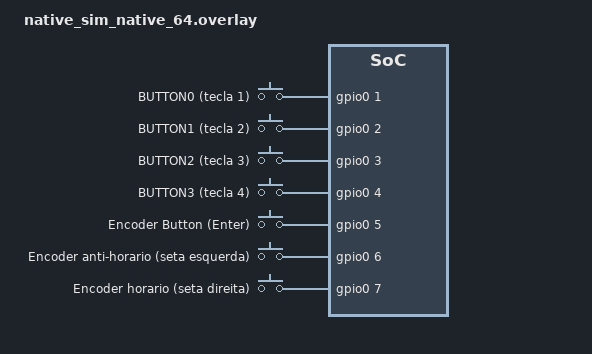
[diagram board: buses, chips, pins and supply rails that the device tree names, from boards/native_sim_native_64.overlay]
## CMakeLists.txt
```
# Aplicação Vitrolinha.
#
# Compilar:  scripts/build.sh
#     ou:    west build -b zbook@p2/rp2350b/m33

cmake_minimum_required(VERSION 3.20.0)

# ----------------------------------------------------------------------------
# Alvos de compilação suportados.
#
# Dois, de propósito:
#
#   zbook@p2/rp2350b/m33   a placa
#   native_sim             o simulador, com OLED em janela SDL e botões no
#                          teclado, para as trilhas de interface e de
#                          armazenamento não ficarem na fila do hardware
#
# A ZBook exige o sufixo @p2, e essa é a armadilha central do projeto: o
# board.yml declara `default: p2`, mas o campo é ignorado em placas de formato
# `custom` e o revision.cmake recai em `p1`. Um binário para P1 sai sem
# encoder, sem display e com conflitos de pino — e, num projeto sem overlay
# próprio, sairia sem erro nenhum.
#
# A verificação é feita duas vezes:
#
#  - Aqui, antes do find_package, sobre a string do alvo. É o único ponto em
#    que ainda dá para emitir mensagem útil: o overlay da placa referencia nós
#    que só existem no P2, e um alvo errado morreria lá dentro com erro de dtc
#    sobre rótulo inexistente.
#  - Abaixo, depois do find_package, sobre BOARD_REVISION já interpretada.
#
# Em src/board_zbook.h há ainda uma terceira, por BUILD_ASSERT.
# ----------------------------------------------------------------------------
set(vitrolinha_board_hint "${BOARD}")
if(NOT vitrolinha_board_hint)
  set(vitrolinha_board_hint "$ENV{BOARD}")
endif()

if(vitrolinha_board_hint
   AND NOT "${vitrolinha_board_hint}" MATCHES "^zbook@p2(/|$)"
   AND NOT "${vitrolinha_board_hint}" STREQUAL "native_sim/native/64")
  message(FATAL_ERROR
    "Alvo inválido: '${vitrolinha_board_hint}'.\n"
    "O Vitrolinha compila para dois alvos, e só para estes dois:\n"
    "    west build -b zbook@p2/rp2350b/m33   (a placa)\n"
    "    west build -b native_sim/native/64   (o simulador)\n"
    "\n"
    "Na ZBook, o sufixo @p2 é obrigatório: sem ele o encoder, o display e o "
    "card-detect não existem no devicetree, e o board.yml da placa não supre "
    "o padrão.\n"
    "\n"
    "No simulador, a variante /native/64 também é obrigatória, por dois "
    "motivos: o nome dos arquivos em boards/ tem de casar com a string de "
    "build, e o native_sim de 32 bits exigiria a SDL em i386.")
endif()

find_package(Zephyr REQUIRED HINTS $ENV{ZEPHYR_BASE})

# A versão não fica aqui: o Zephyr a lê do arquivo VERSION na raiz e gera
# <app_version.h>, que é como o firmware a imprime no console. Declará-la
# também em project() criaria duas fontes para o mesmo número.
project(vitrolinha
        DESCRIPTION "Tocador de músicas embarcado sobre Zephyr RTOS"
        LANGUAGES C)

if("${BOARD}" STREQUAL "zbook" AND NOT "${BOARD_REVISION}" STREQUAL "p2")
  message(FATAL_ERROR
    "Revisão de placa inválida: BOARD_REVISION='${BOARD_REVISION}'.\n"
    "Compile com: west build -b zbook@p2/rp2350b/m33")
endif()

# Módulos do projeto. A lista de fontes e o diretório de cabeçalhos moram em
# src/CMakeLists.txt, de onde os testes unitários também os consomem.
add_subdirectory(src)

# O ponto de entrada fica de fora daquela lista: os testes trazem os módulos
# sem trazer um segundo main().
target_sources(app PRIVATE src/main.c)
```

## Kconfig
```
# Kconfig da aplicação: as opções do projeto e, depois delas, as do Zephyr.

rsource "Kconfig.vitrolinha"

source "Kconfig.zephyr"
```

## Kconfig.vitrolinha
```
# Opções próprias do Vitrolinha.
#
# Separadas do Kconfig da raiz para que os testes possam incluí-las sem
# incluir uma segunda vez o Kconfig.zephyr: o teste que precisa de uma opção
# daqui tem um Kconfig de duas linhas que faz `rsource` deste arquivo.

menu "Vitrolinha"

choice VITROLINHA_STORAGE
	prompt "Origem da biblioteca"
	default VITROLINHA_STORAGE_FAKE if BOARD_NATIVE_SIM
	default VITROLINHA_STORAGE_CARD
	help
	  Quem responde ao contrato de include/vitrolinha/storage.h.

	  Na placa é o cartão. No simulador é a implementação de mentira: lá
	  não há disco registrado, o cartão é sempre "ausente", e sem as faixas
	  embutidas as trilhas de áudio e de interface ficariam sem biblioteca
	  para tocar e desenhar.

config VITROLINHA_STORAGE_CARD
	bool "Cartao microSD"
	depends on FAT_FILESYSTEM_ELM
	help
	  Varre a raiz do volume montado pelo módulo card e lê o nome de cada
	  faixa do cabeçalho RTTTL. Ver src/storage.c.

config VITROLINHA_STORAGE_FAKE
	bool "Faixas embutidas no binario (implementacao de mentira)"
	help
	  Duas faixas RTTTL embutidas, sem cartão e sem sistema de arquivos.
	  Ver src/storage_fake.c.

endchoice

endmenu
```

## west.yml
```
# Manifesto west do Vitrolinha (topologia T2: este repositório é o manifesto).
#
# Layout resultante do workspace:
#
#   vitrolinha-ws/          <- topdir do west
#   ├── .west/
#   ├── vitrolinha/         <- este repositório
#   ├── zephyr/
#   └── modules/
#
# Montagem numa máquina limpa: ver README.md.

manifest:
  self:
    path: vitrolinha

  remotes:
    - name: upstream
      url-base: https://github.com/zephyrproject-rtos
    - name: zephyr-book
      url-base: https://github.com/zephyr-book

  projects:
    # Revisão fixada numa tag, não em `main`: o mesmo commit deste repositório
    # tem de reproduzir o mesmo binário daqui a seis meses.
    - name: zephyr
      remote: upstream
      revision: v4.4.2
      import:
        # Sem a lista, o `west update` baixa ~90 módulos (vários GB). Aqui
        # ficam só os que este alvo realmente usa.
        name-allowlist:
          # HAL do RP2350B. `CONFIG_PWM_RPI_PICO` faz `select PICOSDK_USE_PWM`,
          # que vem daqui.
          - hal_rpi_pico
          # CMSIS 6 é o que `modules/cmsis_6/CMakeLists.txt` compila para
          # `CONFIG_CPU_CORTEX_M`; o módulo `cmsis` (5) só atende Cortex-A/R.
          - cmsis_6
          # Biblioteca C padrão do Zephyr 4.x.
          - picolibc
          # Interface gráfica no OLED.
          - lvgl
          # Obrigatório mesmo sem cartão: o defconfig da placa liga
          # CONFIG_FAT_FILESYSTEM_ELM incondicionalmente.
          - fatfs
          # Referenciado pelo nó `zephyr,fstab` da placa.
          - littlefs

    # Placa fora da árvore. O `zephyr/module.yml` dela define board_root e
    # snippet_root, então o alvo zbook@p2/rp2350b/m33 é descoberto sozinho —
    # não é preciso passar BOARD_ROOT.
    - name: zbook
      remote: zephyr-book
      revision: main
      path: modules/boards/zbook
```

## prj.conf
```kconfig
# Configuração comum aos dois alvos de compilação.
#
# O que é específico de cada um mora em boards/: a ZBook P2 em
# boards/zbook_rp2350b_m33_p2.conf, o simulador em boards/native_sim.conf.
# Aqui fica o que vale para os dois — a interface gráfica, a temporização e
# o diagnóstico, que são justamente as partes que se quer poder exercitar
# sem a placa.
#
# Uma opção deste arquivo quebra o projeto EM SILÊNCIO se omitida; está
# marcada com "SILENCIOSO" no comentário.

# ----------------------------------------------------------------------------
# Entrada e saída comuns
# ----------------------------------------------------------------------------
CONFIG_INPUT=y
CONFIG_INPUT_GPIO_KEYS=y

CONFIG_DISPLAY=y

# ----------------------------------------------------------------------------
# Cartão e sistema de arquivos
# ----------------------------------------------------------------------------

# A pilha de disco vem do defconfig da ZBook, mas não do simulador. Declarada
# aqui porque o módulo `card` monta o mesmo volume "SD" nos dois alvos, com o
# mesmo código — o que difere é de onde o disco aparece, e isso está em
# boards/.
CONFIG_DISK_ACCESS=y
CONFIG_FILE_SYSTEM=y
CONFIG_FAT_FILESYSTEM_ELM=y

# SILENCIOSO E DESTRUTIVO: o padrão do Zephyr é `y`. Com ele ligado, um cartão
# que não monta é FORMATADO pelo próprio `fs_mount` — "Note: This option is
# destructive to data and will automatically destroy your disk, if mount
# attempt fails", diz o texto de ajuda da própria opção. Um cartão com a
# partição levemente danificada entraria na placa com a biblioteca do usuário
# e sairia vazio, sem erro nenhum.
#
# A aplicação nunca formata cartão: a biblioteca é do usuário. O módulo `card`
# ainda passa FS_MOUNT_FLAG_NO_FORMAT na montagem, para que religar esta opção
# por engano não rearme a bomba.
CONFIG_FS_FATFS_MOUNT_MKFS=n

# O padrão de 4 é pré-alocado estaticamente. Só o `storage` toca no sistema
# de arquivos, e nunca em mais de um arquivo por vez.
CONFIG_FS_FATFS_NUM_FILES=2
CONFIG_FS_FATFS_NUM_DIRS=2

# CONFIG_FS_FATFS_LFN fica desligado de propósito: o nome exibido vem do
# cabeçalho RTTTL, não do nome de arquivo, então nomes longos custariam RAM
# estática sem contrapartida. Isso também dispensa decidir entre LFN_MODE_BSS
# e reentrância — e sem reentrância o FF_FS_TIMEOUT do FatFs deixa de ser
# K_FOREVER.

# ----------------------------------------------------------------------------
# Temporização
# ----------------------------------------------------------------------------

# 50 us de quantização, de graça sob tickless. Não subir para 100 kHz: nesse
# ponto o ciclo por tick iguala o atraso mínimo do SysTick e o driver pode
# expirar em dobro.
CONFIG_SYS_CLOCK_TICKS_PER_SEC=20000

# ----------------------------------------------------------------------------
# Interface gráfica
# ----------------------------------------------------------------------------
CONFIG_LVGL=y
CONFIG_LV_COLOR_DEPTH_1=y

# SILENCIOSO: sem o buffer de conversão, o caminho monocromático não é
# registrado e a inicialização do display devolve -ENOTSUP.
CONFIG_LV_Z_MONOCHROME_CONVERSION_BUFFER=y

CONFIG_LV_Z_COLOR_MONO_HW_INVERSION=y

# Quadro inteiro: 128x64 a 1 bpp são 1024 B, ~2 KB com o buffer de conversão.
# Renderização parcial seria economia sem propósito nesse tamanho.
CONFIG_LV_Z_VDB_SIZE=100

# O padrão de 2048 B não sustenta uma lista de 32 itens: no LVGL 9 cada item
# é um botão mais um rótulo, ~150-200 B de heap cada. Dimensionar por medição
# com `lvgl stats memory`, não por estimativa.
CONFIG_LV_Z_MEM_POOL_SIZE=24576

# O laço do LVGL roda numa fila de trabalho dedicada, em vez de num laço que
# a aplicação escreveria. Precisa estar ligado explicitamente: o padrão é n, e
# a prioridade abaixo só existe dentro deste `if`.
CONFIG_LV_Z_RUN_LVGL_ON_WORKQUEUE=y

# SILENCIOSO: o padrão é 0, a maior prioridade preemptível. Deixado assim, o
# laço do LVGL sobrepuja qualquer thread do player — o inverso exato da
# arquitetura pretendida, sem erro nenhum. É a configuração que, omitida,
# invalida a tese do trabalho.
CONFIG_LV_Z_LVGL_WORKQUEUE_PRIORITY=10

# Grade exata de 16 colunas por 8 linhas na tela de 128x64.
CONFIG_LV_FONT_UNSCII_8=y
CONFIG_LV_FONT_DEFAULT_UNSCII_8=y

# `lvgl stats memory`, para dimensionar o pool acima por medição. Depende de
# CONFIG_SHELL, que não vem do defconfig da placa.
CONFIG_SHELL=y
CONFIG_LV_Z_SHELL=y

# ----------------------------------------------------------------------------
# Diagnóstico e robustez
# ----------------------------------------------------------------------------

# Vem do defconfig da ZBook, mas não do simulador: sem declarar aqui, todo
# LOG_* compila para nada no alvo simulado e o firmware fica mudo sem
# nenhum aviso.
CONFIG_LOG=y

# Log diferido: em modo imediato a formatação acontece na thread que chamou
# LOG_*, o que poria trabalho de E/S serial dentro de caminhos que precisam
# ser curtos. Diferido é o padrão do Zephyr, declarado aqui porque o projeto
# depende disso e não de um padrão.
CONFIG_LOG_MODE_DEFERRED=y

# Nomes nas threads, senão o relatório do analisador vira uma lista de
# endereços.
CONFIG_THREAD_NAME=y

# Violação de pré-condição de API do kernel para de passar batida. Custa
# tamanho de código; sai quando o firmware for para demonstração final.
CONFIG_ASSERT=y
```

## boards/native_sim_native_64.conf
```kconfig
# Configuração específica do alvo de simulação.
#
# Reproduz o OLED e as entradas da ZBook no desktop, para que as trilhas de
# interface e de armazenamento não fiquem na fila da placa física. O comum
# aos dois alvos está em prj.conf.
#
# O que NÃO é reproduzido aqui: o áudio. Não existe PWM emulado no Zephyr, e
# ouvir a melodia continua exigindo hardware.

# ----------------------------------------------------------------------------
# A tela
# ----------------------------------------------------------------------------

# Mono de 1 bit, com o zero representando preto — a mesma convenção do
# SSD1306, em que o bit ligado acende o pixel. Com isso o LVGL usa o mesmo
# caminho de código monocromático dos dois lados, incluindo o buffer de
# conversão e o arredondamento de área para múltiplos de 8 em Y.
CONFIG_SDL_DISPLAY_DEFAULT_PIXEL_FORMAT_MONO01=y

# 128x64 numa tela de desktop é um selo. Quadruplicar mantém a proporção e
# a grade de pixels visível, que é o que se quer conferir numa interface
# desenhada para 1 bpp.
CONFIG_SDL_DISPLAY_ZOOM_PCT=400

# ----------------------------------------------------------------------------
# As entradas
# ----------------------------------------------------------------------------

# Teclado do host acionando os pinos de GPIO emulados declarados em
# boards/native_sim.overlay. Os drivers que ficam acima — gpio-keys e o
# subsistema input — são os mesmos da placa.
CONFIG_GPIO_EMUL_SDL=y

# ----------------------------------------------------------------------------
# O cartão
# ----------------------------------------------------------------------------

# Não há cartão aqui, e é de propósito: o módulo `card` roda igual nos dois
# alvos e conclui "ausente" quando nenhum disco de nome "SD" está registrado.
# O que precisa ser dito ao FatFs é só o nome do volume.
#
# O FatFs do Zephyr monta a lista de volumes a partir do DEVICETREE — o
# FF_VOLUME_STRS sai da varredura dos nós `zephyr,sdmmc-disk` e afins, em
# zephyr/modules/fatfs/zephyr_fatfs_config.h. No simulador não existe nó
# nenhum desses, e sem a lista o FF_VOLUMES ficaria sem valor válido e o
# módulo não compilaria. Estas duas opções são a saída oficial: a lista vem
# por Kconfig.
#
# O nome é o mesmo `disk-name` do nó `sdhc0` da ZBook, para que o ponto de
# montagem seja idêntico nos dois alvos — é o CARD_DISK_NAME do módulo `card`,
# de onde sai o CARD_MOUNT_POINT.
#
# Inserção e remoção de verdade são exercitadas em tests/card/, com um disco
# controlado pelo próprio teste.
CONFIG_FS_FATFS_CUSTOM_MOUNT_POINT_COUNT=1
CONFIG_FS_FATFS_CUSTOM_MOUNT_POINTS="SD"

# ----------------------------------------------------------------------------
# Console
# ----------------------------------------------------------------------------

# Sem isto o console vai para um pseudo-terminal e é preciso abrir um segundo
# terminal para vê-lo. Assim o relatório de bring-up e o shell saem no mesmo
# terminal que lançou o executável, ao lado da janela da tela.
CONFIG_UART_NATIVE_PTY_0_ON_STDINOUT=y
```

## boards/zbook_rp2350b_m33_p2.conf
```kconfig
# Configuração específica da ZBook P2.
#
# O defconfig da placa já traz GPIO, I2C, SPI, ADC, SERIAL, PINCTRL,
# CLOCK_CONTROL, LOG, FPU, LED_STRIP, SDHC, DISK_ACCESS, DISK_DRIVERS,
# FILE_SYSTEM e FAT_FILESYSTEM_ELM. Aqui fica o que falta e o que só existe
# nesta placa. O comum aos dois alvos está em prj.conf.

# ----------------------------------------------------------------------------
# Periféricos da placa
# ----------------------------------------------------------------------------
CONFIG_PWM=y
CONFIG_PWM_RPI_PICO=y

# Decodificador de quadratura do encoder PEC12R. No simulador não existe: as
# setas do teclado viram INPUT_REL_WHEEL em src/sim_encoder.c.
CONFIG_INPUT_GPIO_QDEC=y

# O painel é um SSD1306, não um SH1106. Descrito como SH1106 ele confirma no
# I²C e aceita tudo, mas a bomba de carga não liga e a tela fica preta.
CONFIG_SSD1306=y

# ----------------------------------------------------------------------------
# Cartão
# ----------------------------------------------------------------------------
#
# O sistema de arquivos em si é comum aos dois alvos e está em prj.conf. Aqui
# fica só o que existe quando há um cartão SD de verdade do outro lado.

# Os padrões são 10000 ms vezes 3 tentativas, o que faria um único fs_read
# bloquear por dezenas de segundos com o cartão removido. É este corte que
# limita também a espera do `fs_unmount` na remoção a quente: o
# `sdmmc_wait_ready` do caminho de desmontagem tem por teto justamente o
# SD_DATA_TIMEOUT.
CONFIG_SD_DATA_TIMEOUT=500
CONFIG_SD_DATA_RETRIES=1

# CONFIG_SD_INIT_TIMEOUT fica no padrão de 1500 ms, e não cortado como os de
# cima. É o prazo que a especificação física do SD dá ao cartão para concluir
# a inicialização (1 s para o ACMD41, mais folga); encurtá-lo trocaria uma
# espera rara por rejeitar cartões legítimos. O preço é que uma tentativa de
# montagem pode custar 1,5 s — e é por isso que ela mora numa thread de
# prioridade 12, e não na fila de trabalho do sistema.

# ----------------------------------------------------------------------------
# Robustez
# ----------------------------------------------------------------------------

# MPU do Cortex-M33 guardando o fim de cada pilha: estouro vira exceção com
# a thread culpada identificada, em vez de corrupção silenciosa de memória
# vizinha.
CONFIG_HW_STACK_PROTECTION=y

# ----------------------------------------------------------------------------
# Diagnóstico que depende da arquitetura
# ----------------------------------------------------------------------------

# Consumo de pilha por thread: critério de avaliação do trabalho (issue #13).
CONFIG_THREAD_ANALYZER=y
CONFIG_THREAD_ANALYZER_AUTO=y
CONFIG_THREAD_ANALYZER_AUTO_THREAD_PRIORITY_OVERRIDE=y
CONFIG_THREAD_ANALYZER_AUTO_THREAD_PRIORITY=10
```

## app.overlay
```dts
/*
 * Sobreposição comum aos dois alvos de compilação.
 *
 * O que é específico de cada um mora em boards/: a ZBook P2 em
 * boards/zbook_rp2350b_m33_p2.overlay, o simulador em
 * boards/native_sim.overlay. Aqui fica só o que vale para os dois — hoje, a
 * ponte entre o subsistema `input` e o dispositivo de entrada do LVGL, que é
 * idêntica nos dois porque ambos entregam os mesmos códigos de evento.
 *
 * SPDX-License-Identifier: Apache-2.0
 */

#include <zephyr/dt-bindings/input/input-event-codes.h>

/ {
	/*
	 * Ponte declarativa entre o subsistema `input` do Zephyr e o
	 * dispositivo de entrada do LVGL.
	 *
	 * Sem a propriedade `input`, o nó assina todos os dispositivos de
	 * entrada e guarda apenas os dois códigos declarados aqui, ignorando
	 * os quatro botões de transporte. É exatamente a divisão desejada:
	 * encoder para o grupo de foco do LVGL, botões para a fila de
	 * comandos própria.
	 *
	 * Atenção: isto cria o indev, não o grupo de foco. Criar o grupo e
	 * amarrá-lo ao indev é da aplicação (issue #25) — sem isso o encoder
	 * gera eventos, o LVGL os recebe, e nada se move na tela.
	 */
	lvgl_encoder_input: lvgl_encoder_input {
		compatible = "zephyr,lvgl-encoder-input";
		rotation-input-code = <INPUT_REL_WHEEL>;
		button-input-code = <INPUT_KEY_ENTER>;
	};
};
```

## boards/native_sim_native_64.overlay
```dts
/*
 * Sobreposição de devicetree do alvo de simulação.
 *
 * Reproduz a ZBook no desktop com os periféricos emulados do Zephyr, para que
 * as trilhas de interface e de armazenamento não fiquem na fila da placa
 * física. O que não é reproduzível aqui é o áudio: não existe PWM emulado no
 * Zephyr, e o buzzer continua exigindo hardware.
 *
 * SPDX-License-Identifier: Apache-2.0
 */

#include <zephyr/dt-bindings/input/input-event-codes.h>
#include <zephyr/dt-bindings/lvgl/lvgl.h>

/*
 * A tela, no tamanho real do OLED.
 *
 * O driver SDL é configurado em mono 1 bpp com tiling vertical (ver
 * boards/native_sim.conf), que é o mesmo formato que o SSD1306 reporta. O
 * LVGL passa pelo mesmo caminho de código nos dois alvos — inclusive pelo
 * arredondamento de área para múltiplos de 8 em Y.
 */
&sdl_dc {
	width = <128>;
	height = <64>;
};

/*
 * Teclado do host acionando pinos de GPIO emulados.
 *
 * O nó tem de ser filho do controlador `zephyr,gpio-emul` — o driver
 * verifica isso com BUILD_ASSERT, então declará-lo na raiz não compila.
 *
 * O índice do vetor é o número do pino, e o valor é o scancode HID da tecla.
 * O pino 0 fica com o scancode 0 ("no event") porque já é o led0 do
 * native_sim, que o sinal de vida usa.
 *
 * Limitação do driver: só ativo-alto, porque não há evento para tecla solta.
 * Por isso os botões aqui são GPIO_ACTIVE_HIGH, ao contrário dos da placa. A
 * diferença morre no devicetree — o `input_gpio_keys` normaliza, e quem
 * consome os eventos não distingue.
 */
&gpio0 {
	gpio_emul_sdl: gpio_emul_sdl {
		compatible = "zephyr,gpio-emul-sdl";
		scancodes = <0>,   /* pino 0 — led0, sinal de vida */
			    <30>,  /* pino 1 — tecla 1 */
			    <31>,  /* pino 2 — tecla 2 */
			    <32>,  /* pino 3 — tecla 3 */
			    <33>,  /* pino 4 — tecla 4 */
			    <40>,  /* pino 5 — Enter */
			    <80>,  /* pino 6 — seta esquerda */
			    <79>;  /* pino 7 — seta direita */
	};
};

/ {
	/*
	 * Botões de transporte.
	 *
	 * A ordem aqui é a lógica, BTN_0 a BTN_3. Qual botão físico da placa
	 * corresponde a qual continua sendo pergunta da bancada (issue #27):
	 * o P2 não tem serigrafia e a ordem física não segue a numérica.
	 */
	buttons {
		compatible = "gpio-keys";
		debounce-interval-ms = <20>;

		sim_button0: button0 {
			zephyr,code = <INPUT_BTN_0>;
			gpios = <&gpio0 1 GPIO_ACTIVE_HIGH>;
			label = "BUTTON0 (tecla 1)";
		};

		sim_button1: button1 {
			zephyr,code = <INPUT_BTN_1>;
			gpios = <&gpio0 2 GPIO_ACTIVE_HIGH>;
			label = "BUTTON1 (tecla 2)";
		};

		sim_button2: button2 {
			zephyr,code = <INPUT_BTN_2>;
			gpios = <&gpio0 3 GPIO_ACTIVE_HIGH>;
			label = "BUTTON2 (tecla 3)";
		};

		sim_button3: button3 {
			zephyr,code = <INPUT_BTN_3>;
			gpios = <&gpio0 4 GPIO_ACTIVE_HIGH>;
			label = "BUTTON3 (tecla 4)";
		};
	};

	/*
	 * Clique e rotação do encoder.
	 *
	 * O clique é direto: mesmo código da placa, mesmo driver. Já a
	 * rotação não pode passar pelo `gpio-qdec`, que espera quadratura A/B
	 * limpa — duas teclas não produzem isso. As setas viram teclas comuns
	 * aqui, e src/sim_encoder.c as converte em INPUT_REL_WHEEL, que é o
	 * que o indev do LVGL de fato consome.
	 */
	encoder: encoder {
		compatible = "gpio-keys";
		debounce-interval-ms = <20>;

		sim_enc_button: enc-button {
			zephyr,code = <INPUT_KEY_ENTER>;
			gpios = <&gpio0 5 GPIO_ACTIVE_HIGH>;
			label = "Encoder Button (Enter)";
		};

		sim_enc_ccw: enc-ccw {
			zephyr,code = <INPUT_KEY_LEFT>;
			gpios = <&gpio0 6 GPIO_ACTIVE_HIGH>;
			label = "Encoder anti-horario (seta esquerda)";
		};

		sim_enc_cw: enc-cw {
			zephyr,code = <INPUT_KEY_RIGHT>;
			gpios = <&gpio0 7 GPIO_ACTIVE_HIGH>;
			label = "Encoder horario (seta direita)";
		};
	};
    lvgl_keypad: lvgl_keypad {
        compatible = "zephyr,lvgl-keypad-input";

        input = <&encoder>;

        input-codes = <
            INPUT_KEY_LEFT
            INPUT_KEY_RIGHT
            INPUT_KEY_ENTER
        >;

        lvgl-codes = <
            LV_KEY_LEFT
            LV_KEY_RIGHT
            LV_KEY_ENTER
        >;
    };
};
```

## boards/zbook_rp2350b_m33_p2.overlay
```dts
/*
 * Sobreposição de devicetree da ZBook P2.
 *
 * Um arquivo em boards/ só é aplicado se o nome casar exatamente com a string
 * de build montada a partir de placa, qualificadores e revisão — e errar o
 * nome não gera erro, a sobreposição apenas não é aplicada. Aqui isso não é
 * risco silencioso: os BUILD_ASSERT em src/board_zbook.h conferem, em tempo
 * de compilação, que este arquivo foi mesmo aplicado.
 *
 * O que é comum aos dois alvos de compilação está em app.overlay.
 *
 * SPDX-License-Identifier: Apache-2.0
 */

#include <zephyr/dt-bindings/i2c/i2c.h>
#include <zephyr/dt-bindings/input/input-event-codes.h>

/*
 * Divisor automático no slice do buzzer.
 *
 * A placa fixa `divider-int-8 = <255>`, o que põe o driver em modo fixo: ele
 * não reescala o divisor por nota e, nesse caminho, não valida o limite de
 * 16 bits do registrador de wrap. Apagar a propriedade devolve o driver ao
 * modo automático, em que ele escolhe o divisor por potência de dois a cada
 * nota mantendo o contador acima de 32768.
 *
 * Ganho de afinação: com o divisor fixo o erro chega a ~6 cents na oitava 7 —
 * justamente onde a transposição para cima leva a melodia; em modo automático
 * fica em ~0,05 cent.
 *
 * A regra de derivar o período de pwm_get_cycles_per_sec() continua valendo
 * nos dois modos, e é ela que evita a armadilha de verdade.
 */
&pwm {
	/delete-property/ divider-int-8;
};

/*
 * I²C a 400 kHz.
 *
 * A placa deixa em 100 kHz, onde um quadro cheio de 128x64 a 1 bpp (1024 B)
 * custa ~92 ms no barramento — os 10 fps do plano não caberiam. A 400 kHz
 * cai para ~23 ms. O que sustenta a taxa mesmo é o desenho por região suja;
 * isto só tira o barramento do caminho crítico da troca de tela.
 */
&i2c0 {
	clock-frequency = <I2C_BITRATE_FAST>;
};

/*
 * Detecção de cartão ligada à pilha SD.
 *
 * O nó `sd_cd` existe na placa, mas nenhum driver o consome por padrão. Sem
 * `cd-gpios`, `sdhc_spi_get_card_present` devolve 1 incondicionalmente —
 * "SPI has no card presence method, assume card is in slot" — e o firmware
 * nunca descobre que não há cartão.
 *
 * GPIO 33 = gpio0_hi pino 1, ativo-baixo, com pull-up externo de 10k.
 */
&sdhc0 {
	cd-gpios = <&gpio0_hi 1 GPIO_ACTIVE_LOW>;
};

/*
 * Debounce explícito nos botões.
 *
 * A propriedade é do nó `gpio-keys` pai, não de cada filho, e o padrão
 * herdado do binding é 30 ms. Declarar 20 ms deixa o número no repositório
 * em vez de num arquivo de terceiros.
 *
 * O nó dos quatro botões de transporte está na raiz; o do clique do encoder
 * é filho de gpio0_hi e não tem rótulo, daí o caminho completo. Caminho que
 * não existir vira erro de compilação do devicetree, não omissão silenciosa.
 */
&{/buttons} {
	debounce-interval-ms = <20>;
};

&{/soc/gpio@40028000/gpio-port@1/encoder} {
	debounce-interval-ms = <20>;
};
```

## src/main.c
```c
/**
 * @file main.c
 * @brief Ponto de entrada do Vitrolinha.
 *
 * **Andaime, não produto.** Este `main` existe para provar que o ambiente
 * está de pé: pisca um LED e imprime no console um relatório de bring-up
 * que exercita os quatro contratos compartilhados. Se o relatório sai
 * completo, as três trilhas podem trabalhar em paralelo sem esperar umas
 * pelas outras.
 *
 * É descartado inteiro quando as threads `player`, `ui`, `input` e `loader`
 * existirem — nenhuma linha daqui foi escrita para durar.
 *
 * Compila para os dois alvos: a ZBook P2 e o simulador. O que difere entre
 * eles é devicetree e configuração, não código — é o que torna possível
 * desenvolver a interface e o armazenamento sem a placa em mãos.
 */

#include <vitrolinha/card.h>
#include <vitrolinha/cmd.h>
#include <vitrolinha/snapshot.h>
#include <vitrolinha/storage.h>
#include <vitrolinha/track.h>

#include <app_version.h>

#include <zephyr/devicetree.h>
#include <zephyr/drivers/gpio.h>
#include <zephyr/kernel.h>
#include <zephyr/logging/log.h>

LOG_MODULE_REGISTER(vitrolinha, LOG_LEVEL_INF);

/*
 * Verificações de compilação da placa física. No alvo de simulação não há
 * encoder, display SSD1306 nem cartão para conferir — os periféricos
 * emulados são outros, e o overlay que os descreve é outro.
 */
#if defined(CONFIG_BOARD_ZBOOK)
#include "board_zbook.h"
#endif

/** @brief Período de meio piscar do LED de sinal de vida. */
#define HEARTBEAT_PERIOD K_MSEC(500)

/**
 * @brief LED de sinal de vida.
 *
 * Um dos quatro LEDs de GPIO puro. Um deles vai virar o pino de
 * instrumentação das medições de tempo (issue #23), já que a placa não tem
 * pino de header confirmado — daí valer a pena que o sinal de vida seja um
 * ponto único no código, fácil de mover.
 */
static const struct gpio_dt_spec heartbeat = GPIO_DT_SPEC_GET(DT_ALIAS(led0), gpios);

/**
 * @brief Prepara o LED de sinal de vida.
 *
 * @retval 0        LED pronto.
 * @retval -ENODEV  O controlador de GPIO não inicializou.
 * @retval outro    Erro devolvido por `gpio_pin_configure_dt`.
 */
static int heartbeat_init(void)
{
	int err;

	if (!gpio_is_ready_dt(&heartbeat)) {
		LOG_ERR("GPIO do LED de sinal de vida nao esta pronto");
		return -ENODEV;
	}

	err = gpio_pin_configure_dt(&heartbeat, GPIO_OUTPUT_INACTIVE);
	if (err != 0) {
		LOG_ERR("Nao consegui configurar o LED: %d", err);
		return err;
	}

	return 0;
}

/**
 * @brief Anuncia toda mudança de estado do cartão.
 *
 * Aqui só imprime. Quando a interface existir, é por este caminho que a tela
 * de erro aparece e some (issues #29 e #30).
 *
 * @param state O estado novo.
 */
static void card_changed(enum card_state state)
{
	LOG_INF("Cartao mudou para: %s", card_state_name(state));
}

/**
 * @brief Monta o cartão e põe o monitor de presença de pé.
 *
 * Ausência de cartão não é falha de inicialização: a placa continua ligando,
 * e o monitor passa a avisar se um cartão aparecer.
 */
static void card_report(void)
{
	int err;

	/* Observar antes de inicializar, para não perder a transição de quem
	 * liga a placa com o cartão já no soquete.
	 */
	card_observe(card_changed);

	err = card_init();
	if (err != 0) {
		LOG_ERR("Monitor do cartao nao subiu: %d", err);
		return;
	}

	LOG_INF("Cartao: %s (ponto de montagem %s)", card_state_name(card_get_state()),
		CARD_MOUNT_POINT);
}

/**
 * @brief Exercita o contrato do @ref storage.h e lista a biblioteca no log.
 *
 * Quem responde depende do alvo: na placa, o cartão que o @ref card_report
 * acabou de montar; no simulador, a implementação de mentira, com duas faixas
 * embutidas. Esta função não sabe qual das duas — é o que a fronteira do
 * @ref storage.h compra.
 *
 * @return Quantidade de faixas encontradas, ou erro negativo do contrato.
 */
static int library_report(void)
{
	static struct track_meta library[LIBRARY_MAX];
	static uint8_t buf[STORAGE_FILE_MAX];
	size_t skipped;
	int count;

	LOG_INF("Biblioteca: %s", storage_present() ? "disponivel" : "indisponivel");

	count = storage_scan(library, ARRAY_SIZE(library), &skipped);
	if (count < 0) {
		LOG_ERR("Varredura falhou: %d", count);
		return count;
	}

	LOG_INF("Biblioteca: %d faixa(s)", count);

	/* É este aviso que vira mensagem na tela quando a interface existir. */
	if (skipped > 0U) {
		LOG_WRN("Biblioteca cheia: %zu arquivo(s) ignorado(s)", skipped);
	}

	for (int i = 0; i < count; i++) {
		int size = storage_load(i, buf, sizeof(buf));

		if (size == -ENOTSUP) {
			/* O cartão ainda não carrega faixa: é a issue #11. */
			LOG_INF("  [%u] %-16s%s", library[i].index, library[i].name,
				library[i].valid ? "" : "  (invalida)");
			continue;
		}

		if (size < 0) {
			LOG_WRN("  [%u] %-16s  carga falhou: %d", library[i].index,
				library[i].name, size);
			continue;
		}

		LOG_INF("  [%u] %-16s  %d bytes%s", library[i].index, library[i].name,
			size, library[i].valid ? "" : "  (invalida)");
	}

	return count;
}

/**
 * @brief Exercita o contrato do @ref snapshot.h.
 *
 * Publica um instantâneo de faixa tocando e o relê pelo mesmo caminho que a
 * `ui` usará, para conferir que a conversão de decorrido e de progresso
 * está de pé antes de existir tela.
 */
static void snapshot_report(void)
{
	const struct player_snapshot playing = {
		.state = PLAYER_PLAYING,
		.base_us = 0U,
		.total_us = 60U * USEC_PER_SEC,
		.track = 0,
	};
	struct player_snapshot copy;

	snapshot_publish(&playing);
	snapshot_read(&copy);

	LOG_INF("Instantaneo: faixa %d, %u us de %u us (%u/1000)", copy.track,
		snapshot_elapsed_us(&copy, 30U * USEC_PER_SEC), copy.total_us,
		snapshot_progress_permille(&copy, 30U * USEC_PER_SEC));
}

/**
 * @brief Exercita o contrato do @ref cmd.h.
 *
 * Publica e consome um comando pela fila real, no mesmo sentido em que
 * `input` e `player` vão usá-la.
 */
static void cmd_report(void)
{
	struct cmd received;
	int err;

	cmd_flush();

	err = cmd_post(CMD_SELECT, 1);
	if (err != 0) {
		LOG_ERR("Nao consegui enfileirar comando: %d", err);
		return;
	}

	err = cmd_get(&received, K_NO_WAIT);
	if (err != 0) {
		LOG_ERR("Nao consegui retirar comando: %d", err);
		return;
	}

	LOG_INF("Comando: %s faixa %d", cmd_kind_name((enum cmd_kind)received.kind),
		received.track);
}

int main(void)
{
	int err;

	LOG_INF("Vitrolinha %s em " CONFIG_BOARD_TARGET, APP_VERSION_STRING);

	err = heartbeat_init();
	if (err != 0) {
		return err;
	}

	card_report();
	(void)library_report();
	snapshot_report();
	cmd_report();

	LOG_INF("Bring-up completo. LED de sinal de vida piscando.");

	while (true) {
		(void)gpio_pin_toggle_dt(&heartbeat);
		k_sleep(HEARTBEAT_PERIOD);
	}

	return 0;
}
```

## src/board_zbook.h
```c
/**
 * @file board_zbook.h
 * @brief Verificações de compilação específicas da ZBook P2.
 *
 * Incluído apenas quando o alvo é a placa física. Existe como cabeçalho
 * separado para que o alvo de simulação, que não tem nenhum destes nós, não
 * precise de `#if` espalhado pelo código da aplicação.
 *
 * As duas famílias de verificação aqui cobrem as duas maneiras de o build
 * sair errado sem emitir erro.
 */

#ifndef VITROLINHA_BOARD_ZBOOK_H_
#define VITROLINHA_BOARD_ZBOOK_H_

#include <zephyr/devicetree.h>
#include <zephyr/toolchain.h>

/*
 * 1. Revisão da placa.
 *
 * O board.yml da ZBook declara `default: p2`, mas o campo é ignorado em
 * placas de formato `custom`, e o revision.cmake recai em `p1`. Compilar sem
 * o sufixo @p2 produz um binário para uma placa sem encoder e sem tela.
 *
 * O CMakeLists rejeita o alvo errado antes de compilar; estes BUILD_ASSERT
 * pegam o caso de alguém chegar ao build por outro caminho, como um IDE que
 * monte a linha de comando sozinho. Os três nós só existem na revisão P2.
 */
BUILD_ASSERT(DT_NODE_EXISTS(DT_NODELABEL(encoder_qdec)),
	     "Sem encoder no devicetree: compile com -b zbook@p2/rp2350b/m33 "
	     "(o sufixo @p2 e obrigatorio).");
BUILD_ASSERT(DT_NODE_EXISTS(DT_NODELABEL(enc_button)),
	     "Sem clique de encoder no devicetree: falta o sufixo @p2.");
BUILD_ASSERT(DT_HAS_CHOSEN(zephyr_display),
	     "Sem chosen zephyr,display: falta o sufixo @p2.");

/*
 * 2. Sobreposição da aplicação.
 *
 * Um arquivo em boards/ só é aplicado se o nome casar exatamente com a
 * string de build montada a partir de placa, qualificadores e revisão, e
 * errar o nome não gera aviso nenhum. Sem estas duas verificações, o
 * firmware compilaria com o I²C a 100 kHz e com o cartão sempre "presente".
 */
BUILD_ASSERT(DT_PROP(DT_NODELABEL(i2c0), clock_frequency) == 400000,
	     "boards/zbook_rp2350b_m33_p2.overlay nao foi aplicado: "
	     "i2c0 ainda esta em 100 kHz.");
BUILD_ASSERT(DT_NODE_HAS_PROP(DT_NODELABEL(sdhc0), cd_gpios),
	     "boards/zbook_rp2350b_m33_p2.overlay nao foi aplicado: "
	     "sdhc0 esta sem cd-gpios.");

#endif /* VITROLINHA_BOARD_ZBOOK_H_ */
```

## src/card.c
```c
/**
 * @file card.c
 * @brief Montagem do cartão e o monitor que vê inserção e remoção.
 *
 * Duas coisas num arquivo só, porque são a mesma: montar é a única maneira de
 * descobrir se o cartão presta, e observar a presença só tem valor se alguém
 * montar quando ela aparecer.
 *
 * O que torna isto menos trivial do que parece é que, sem `cd-gpios` no nó
 * `sdhc0`, a pilha SD mente: `sdhc_spi_get_card_present` devolve 1
 * incondicionalmente, com o comentário "SPI has no card presence method,
 * assume card is in slot" (`zephyr/drivers/sdhc/sdhc_spi.c:780`). O overlay
 * da placa liga o pino, e é só por causa dele que qualquer coisa deste
 * arquivo funciona.
 *
 * @see card.h para o contrato, docs/adr/0007 para as alternativas rejeitadas
 */

#include <vitrolinha/card.h>

#include <zephyr/fs/fs.h>
#include <zephyr/kernel.h>
#include <zephyr/logging/log.h>
#include <zephyr/storage/disk_access.h>
#include <zephyr/sys/atomic.h>

#include <ff.h>

#include <errno.h>

LOG_MODULE_REGISTER(card, LOG_LEVEL_INF);

/**
 * @brief Intervalo entre duas olhadas no pino de detecção.
 *
 * O pino de card-detect não tem interrupção: o `sdhc_spi` o configura como
 * `GPIO_INPUT` puro e a pilha SD só o expõe por consulta. Logo, sondagem.
 *
 * 250 ms é o tempo entre encostar o cartão no soquete e a tela reagir. Mais
 * curto não melhora nada perceptível — uma inserção humana leva bem mais do
 * que isso — e mais longo faz a placa parecer travada.
 */
#define CARD_POLL_INTERVAL_MS 250

/**
 * @brief Pilha do monitor.
 *
 * Dimensionada com folga por ora: quem monta é esta thread, e montar
 * atravessa o FatFs e a pilha SD inteira. O número definitivo sai da medição
 * do `CONFIG_THREAD_ANALYZER` (issue #13), que é critério de avaliação — não
 * de estimativa.
 */
#define CARD_MONITOR_STACK_SIZE 2048

/**
 * @brief Prioridade do monitor: a mais baixa do sistema.
 *
 * Abaixo da fila de trabalho do LVGL (10), que já está abaixo do `player`.
 * O monitor é a única thread que bloqueia por mais de um milissegundo, e não
 * há nada no sistema que possa esperar por ela.
 */
#define CARD_MONITOR_PRIORITY 12

/** @brief Objeto de trabalho do FatFs para o volume do cartão. */
static FATFS card_fat;

/**
 * @brief Descrição da montagem.
 *
 * `FS_MOUNT_FLAG_NO_FORMAT` é a segunda tranca do mesmo perigo que o
 * `CONFIG_FS_FATFS_MOUNT_MKFS=n` fecha: sem ele, `fs_mount` formata um cartão
 * que não montou, apagando a biblioteca de quem só queria ouvir música. O
 * Kconfig sozinho bastaria; a tranca aqui é para que ligar a opção de volta,
 * por engano ou por outro módulo, não volte a armar a bomba.
 */
static struct fs_mount_t card_mount = {
	.type = FS_FATFS,
	.fs_data = &card_fat,
	.mnt_point = CARD_MOUNT_POINT,
	.flags = FS_MOUNT_FLAG_NO_FORMAT,
};

/**
 * @brief Estado publicado, lido sem trava por qualquer thread.
 *
 * Atômico e não `enum` simples: quem lê é a interface, a cada quadro, e quem
 * escreve é o monitor. Um `int` desalinhado não existe nesta arquitetura, mas
 * `atomic_set` também devolve o valor anterior numa operação só — que é
 * exatamente o que @ref publish precisa para decidir se houve transição.
 */
static atomic_t card_state_now = ATOMIC_INIT(CARD_ABSENT);

/** @brief O volume está montado? Escrito só sob @ref card_lock. */
static bool card_mounted;

/** @brief O monitor já existe? */
static bool card_started;

/** @brief Quem quer saber das transições. */
static card_observer_t card_observer;

/**
 * @brief Serializa as avaliações, e as avaliações com quem usa o volume.
 *
 * A aplicação pode chamar @ref card_refresh enquanto o monitor está no meio
 * de uma montagem. Sem isto, os dois chamariam `fs_mount` sobre o mesmo
 * `fs_mount_t`.
 *
 * É também a trava do empréstimo de @ref card_acquire: quem lê o volume a
 * segura, e o monitor não desmonta por baixo da leitura.
 */
static K_MUTEX_DEFINE(card_lock);

static struct k_thread card_monitor_thread;
static K_THREAD_STACK_DEFINE(card_monitor_stack, CARD_MONITOR_STACK_SIZE);

/**
 * @brief Há cartão no soquete?
 *
 * Consulta barata — na placa, uma leitura do pino de card-detect por dentro
 * da pilha SD. Não diz nada sobre o volume ser legível.
 *
 * @return Verdadeiro se o disco existe e não acusa ausência de mídia.
 */
static bool card_slot_occupied(void)
{
	int status = disk_access_status(CARD_DISK_NAME);

	/* Negativo é disco não registrado: nenhum nó `zephyr,sdmmc-disk` no
	 * devicetree. Do ponto de vista de quem usa, é o mesmo que soquete
	 * vazio — e é o que acontece no alvo de simulação.
	 */
	if (status < 0) {
		return false;
	}

	return (status & DISK_STATUS_NOMEDIA) == 0;
}

/**
 * @brief Publica o estado.
 *
 * Não chama o observador: quem faz isso é @ref card_refresh, depois de soltar
 * a trava. Avisar de dentro dela criaria ordem de travas entre este módulo e
 * quem quer que o observe — a interface, no fim — e essa é a maneira clássica
 * de produzir um impasse que só aparece na demonstração.
 *
 * @param state Estado novo.
 * @return Verdadeiro se o estado mudou de fato.
 */
static bool publish(enum card_state state)
{
	enum card_state previous =
		(enum card_state)atomic_set(&card_state_now, (atomic_val_t)state);

	if (previous == state) {
		return false;
	}

	LOG_INF("Cartao: %s", card_state_name(state));

	return true;
}

/**
 * @brief Tenta montar o volume.
 *
 * @return 0, ou o erro negativo de `fs_mount`.
 */
static int card_try_mount(void)
{
	int err = fs_mount(&card_mount);

	if (err == -EBUSY) {
		/* Sobra de uma desmontagem que não completou. O `fs_unmount`
		 * só tira o ponto de montagem da lista se o sistema de
		 * arquivos abaixo dele tiver concluído; quando não conclui, o
		 * ponto fica lá e todo `fs_mount` seguinte devolve -EBUSY —
		 * para sempre, porque nada mais tenta desmontar.
		 *
		 * Aqui a segunda tentativa tem chance de dar certo justamente
		 * por ser mais tarde: o que travou a primeira foi o cartão que
		 * saiu, e agora há outro no soquete.
		 */
		LOG_WRN("Montagem anterior nao foi desfeita. Desfazendo agora.");
		(void)fs_unmount(&card_mount);
		err = fs_mount(&card_mount);
	}

	if (err != 0) {
		LOG_ERR("Cartao no soquete mas o volume nao montou: %d", err);
		return err;
	}

	LOG_INF("Cartao montado em %s", CARD_MOUNT_POINT);

	return 0;
}

/**
 * @brief Desmonta o volume, dê no que der.
 *
 * A desmontagem é registrada como concluída mesmo quando falha, de propósito:
 * insistir com o cartão fora do soquete não ajuda — a issue zephyr#94033,
 * fechada como "not planned", é sobre exatamente isso —, e ficar marcado como
 * montado só adiaria o problema.
 *
 * O que falha aqui não some, porém: o `fs_unmount` deixa o ponto de montagem
 * na lista do subsistema, e é @ref card_try_mount quem limpa a sobra, na
 * próxima inserção.
 */
static void card_force_unmount(void)
{
	int err = fs_unmount(&card_mount);

	card_mounted = false;

	if (err != 0) {
		LOG_WRN("Desmontagem falhou: %d. Seguindo como desmontado.", err);
	}
}

/**
 * @brief Devolve o disco ao estado não inicializado.
 *
 * Existe por causa de uma assimetria do `fs_mount`: quando ele falha depois
 * de já ter inicializado o cartão — o que é o caso comum, porque a falha
 * costuma estar no volume e não no meio físico —, ninguém desfaz essa
 * inicialização. A pilha SD fica achando que o cartão está pronto
 * (`data->status == SD_OK` em `sdmmc_subsys.c`), e o `f_mount` seguinte pula
 * a inicialização por ver o disco como pronto.
 *
 * Sem isto, trocar um cartão ilegível por um bom faria o FatFs conversar com
 * um cartão que nunca foi inicializado. O `fs_unmount` faz esta mesma
 * chamada, mas só existe caminho de desmontagem se a montagem tiver dado
 * certo — daí a versão avulsa.
 */
static void card_release_disk(void)
{
	/* A variante forçada, que zera a contagem de referências do disco em
	 * vez de decrementá-la. É a certa aqui: o cartão saiu do soquete, e
	 * não há como saber se a montagem que falhou chegou ou não a
	 * inicializá-lo. A variante contada responderia -EINVAL e um aviso no
	 * log em metade dos casos, sem que nenhum dos dois fosse notícia.
	 */
	bool force = true;

	(void)disk_access_ioctl(CARD_DISK_NAME, DISK_IOCTL_CTRL_DEINIT, &force);
}

enum card_state card_refresh(void)
{
	card_observer_t observer;
	enum card_state next;
	bool changed;

	(void)k_mutex_lock(&card_lock, K_FOREVER);

	if (!card_slot_occupied()) {
		if (card_mounted) {
			card_force_unmount();
		} else if (card_get_state() != CARD_ABSENT) {
			/* Estava presente e ilegível: a montagem que falhou pode
			 * ter deixado o cartão inicializado para trás.
			 */
			card_release_disk();
		}

		next = CARD_ABSENT;
	} else if (card_mounted) {
		next = CARD_READY;
	} else if (card_get_state() == CARD_UNREADABLE) {
		/* Já tentamos montar este cartão e não deu. Um volume não se
		 * conserta sozinho dentro do soquete, e insistir a cada 250 ms
		 * só gastaria barramento. A próxima tentativa vem da remoção.
		 */
		next = CARD_UNREADABLE;
	} else if (card_try_mount() == 0) {
		card_mounted = true;
		next = CARD_READY;
	} else {
		next = CARD_UNREADABLE;
	}

	changed = publish(next);

	k_mutex_unlock(&card_lock);

	observer = card_observer;

	if (changed && (observer != NULL)) {
		observer(next);
	}

	return next;
}

/**
 * @brief Laço do monitor: dorme, olha o soquete, reage à mudança.
 *
 * Sondar é a única opção — ver @ref CARD_POLL_INTERVAL_MS. Dormir primeiro e
 * avaliar depois é de propósito: @ref card_init já avaliou uma vez antes de
 * criar esta thread.
 */
static void card_monitor(void *unused1, void *unused2, void *unused3)
{
	ARG_UNUSED(unused1);
	ARG_UNUSED(unused2);
	ARG_UNUSED(unused3);

	for (;;) {
		k_sleep(K_MSEC(CARD_POLL_INTERVAL_MS));
		(void)card_refresh();
	}
}

void card_observe(card_observer_t observer)
{
	card_observer = observer;
}

int card_init(void)
{
	if (card_started) {
		return -EALREADY;
	}

	card_started = true;

	/* Avaliar antes de criar a thread: quem chamou tem direito de
	 * encontrar o estado pronto no `card_get_state` da linha seguinte, em
	 * vez de uma janela de 250 ms em que o cartão ainda é "ausente".
	 */
	(void)card_refresh();

	(void)k_thread_create(&card_monitor_thread, card_monitor_stack,
			      K_THREAD_STACK_SIZEOF(card_monitor_stack), card_monitor, NULL,
			      NULL, NULL, CARD_MONITOR_PRIORITY, 0, K_NO_WAIT);
	(void)k_thread_name_set(&card_monitor_thread, "card");

	return 0;
}

enum card_state card_get_state(void)
{
	return (enum card_state)atomic_get(&card_state_now);
}

bool card_ready(void)
{
	return card_get_state() == CARD_READY;
}

int card_acquire(void)
{
	enum card_state state;

	(void)k_mutex_lock(&card_lock, K_FOREVER);

	/* Lido com a trava presa: é o único jeito de o estado não mudar entre
	 * a consulta e o uso do volume.
	 */
	state = card_get_state();

	if (state == CARD_READY) {
		return 0;
	}

	k_mutex_unlock(&card_lock);

	return (state == CARD_ABSENT) ? -ENODEV : -EIO;
}

void card_release(void)
{
	k_mutex_unlock(&card_lock);
}

const char *card_state_name(enum card_state state)
{
	switch (state) {
	case CARD_ABSENT:
		return "ausente";
	case CARD_READY:
		return "presente e legivel";
	case CARD_UNREADABLE:
		return "presente e ilegivel";
	default:
		return "desconhecido";
	}
}
```

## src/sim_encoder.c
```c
/**
 * @file sim_encoder.c
 * @brief Rotação do encoder no alvo de simulação, a partir das setas.
 *
 * Só entra na compilação para `native_sim`.
 *
 * Na placa, girar o encoder produz quadratura nas linhas A e B, e o driver
 * `gpio-qdec` a converte em ::INPUT_REL_WHEEL. No simulador as entradas vêm
 * do teclado do host, e duas teclas não produzem quadratura limpa — apertar
 * uma seta gera uma borda só, não o par defasado que o decodificador espera.
 *
 * Então aqui as setas são teclas comuns, e este módulo faz a última etapa da
 * tradução: recebe ::INPUT_KEY_LEFT e ::INPUT_KEY_RIGHT e emite o mesmo
 * ::INPUT_REL_WHEEL que o `gpio-qdec` emitiria. O dispositivo de entrada do
 * LVGL não distingue os dois casos — é o mesmo código de evento chegando
 * pelo mesmo barramento.
 *
 * O que fica de fora da simulação, e continua sendo verificação de bancada:
 * se o encoder físico lê limpo, se precisa de pull-up externo, e quantos
 * detentes valem um passo (issue #27).
 */

#include <zephyr/device.h>
#include <zephyr/dt-bindings/input/input-event-codes.h>
#include <zephyr/input/input.h>
#include <zephyr/kernel.h>
#include <zephyr/logging/log.h>

LOG_MODULE_REGISTER(sim_encoder, LOG_LEVEL_INF);

/** @brief Um detente por tecla, na direção correspondente. */
#define SIM_ENCODER_STEP 1

/**
 * @brief Converte tecla de seta em passo de encoder.
 *
 * Reage apenas ao pressionar, não ao soltar: uma tecla mantida gera repetição
 * pelo próprio teclado, o que dá um giro contínuo razoável.
 *
 * @param evt       Evento vindo do subsistema `input`.
 * @param user_data Não usado.
 */
static void sim_encoder_on_key(struct input_event *evt, void *user_data)
{
	int32_t step;

	ARG_UNUSED(user_data);

	if (evt->type != INPUT_EV_KEY || evt->value == 0) {
		return;
	}

	switch (evt->code) {
	case INPUT_KEY_LEFT:
		step = -SIM_ENCODER_STEP;
		break;
	case INPUT_KEY_RIGHT:
		step = SIM_ENCODER_STEP;
		break;
	default:
		return;
	}

	/* Sem espera: isto roda no contexto de quem publicou o evento de
	 * tecla, e bloquear ali seguraria todo o subsistema de entrada.
	 */
	(void)input_report_rel(NULL, INPUT_REL_WHEEL, step, true, K_NO_WAIT);
}

/* NULL como dispositivo: escuta todos os produtores de entrada, e filtra por
 * código. É a mesma escolha do nó do LVGL no app.overlay.
 */
INPUT_CALLBACK_DEFINE(NULL, sim_encoder_on_key, NULL);
```
